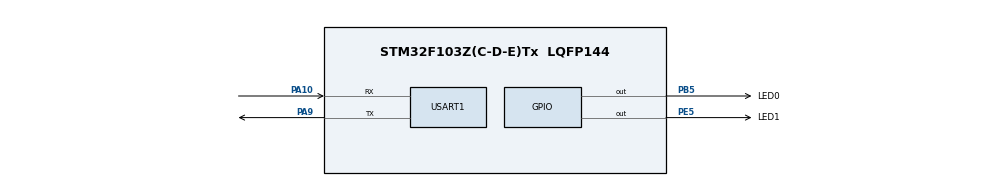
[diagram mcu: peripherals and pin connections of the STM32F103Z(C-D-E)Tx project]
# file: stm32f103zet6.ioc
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Dma.Request0=USART1_RX
Dma.Request1=USART1_TX
Dma.USART1_RX.0.Direction=DMA_PERIPH_TO_MEMORY
Dma.USART1_RX.0.Instance=DMA1_Channel5
Dma.USART1_RX.0.MemDataAlignment=DMA_MDATAALIGN_BYTE
Dma.USART1_RX.0.MemInc=DMA_MINC_ENABLE
Dma.USART1_RX.0.Mode=DMA_CIRCULAR
Dma.USART1_RX.0.PeriphDataAlignment=DMA_PDATAALIGN_BYTE
Dma.USART1_RX.0.PeriphInc=DMA_PINC_DISABLE
Dma.USART1_RX.0.Priority=DMA_PRIORITY_HIGH
Dma.USART1_TX.1.Direction=DMA_MEMORY_TO_PERIPH
Dma.USART1_TX.1.Instance=DMA1_Channel4
Dma.USART1_TX.1.MemDataAlignment=DMA_MDATAALIGN_BYTE
Dma.USART1_TX.1.MemInc=DMA_MINC_ENABLE
Dma.USART1_TX.1.Mode=DMA_NORMAL
Dma.USART1_TX.1.PeriphDataAlignment=DMA_PDATAALIGN_BYTE
Dma.USART1_TX.1.PeriphInc=DMA_PINC_DISABLE
Dma.USART1_TX.1.Priority=DMA_PRIORITY_MEDIUM
Mcu.Family=STM32F1
Mcu.Name=STM32F103Z(C-D-E)Tx
Mcu.Package=LQFP144
NVIC.DMA1_Channel4_IRQn=true\:0\:0\:false\:false\:true\:false\:true\:true
NVIC.DMA1_Channel5_IRQn=true\:0\:0\:false\:false\:true\:false\:true\:true
NVIC.PriorityGroup=NVIC_PRIORITYGROUP_4
NVIC.USART1_IRQn=true\:1\:0\:true\:false\:true\:true\:true\:true
OSC_IN.Mode=HSE-External-Oscillator
OSC_IN.Signal=RCC_OSC_IN
OSC_OUT.Mode=HSE-External-Oscillator
OSC_OUT.Signal=RCC_OSC_OUT
PA10.Mode=Asynchronous
PA10.Signal=USART1_RX
PA13.Mode=Serial_Wire
PA13.Signal=SYS_JTMS-SWDIO
PA14.Mode=Serial_Wire
PA14.Signal=SYS_JTCK-SWCLK
PA9.Mode=Asynchronous
PA9.Signal=USART1_TX
PB5.GPIO_Label=LED0
PB5.GPIO_ModeDefaultOutputPP=GPIO_MODE_OUTPUT_PP
PB5.GPIO_PuPd=GPIO_PULLDOWN
PB5.GPIO_Speed=GPIO_SPEED_FREQ_MEDIUM
PB5.Signal=GPIO_Output
PE5.GPIO_Label=LED1
PE5.GPIO_PuPd=GPIO_PULLDOWN
PE5.GPIO_Speed=GPIO_SPEED_FREQ_MEDIUM
PE5.Signal=GPIO_Output
ProjectManager.HeapSize=0x200
ProjectManager.StackSize=0x400
ProjectManager.TargetToolchain=MDK-ARM V5.32
RCC.AHBFreq_Value=72000000
RCC.APB1CLKDivider=RCC_HCLK_DIV2
RCC.APB1Freq_Value=36000000
RCC.APB1TimFreq_Value=72000000
RCC.APB2Freq_Value=72000000
RCC.APB2TimFreq_Value=72000000
RCC.HCLKFreq_Value=72000000
RCC.PLLMUL=RCC_PLL_MUL9
RCC.PLLSourceVirtual=RCC_PLLSOURCE_HSE
RCC.SYSCLKFreq_VALUE=72000000
RCC.SYSCLKSource=RCC_SYSCLKSOURCE_PLLCLK
RCC.USBFreq_Value=72000000
USART1.VirtualMode=VM_ASYNC
board=custom

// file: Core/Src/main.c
/* USER CODE BEGIN Header */
/**
  ******************************************************************************
  * @file           : main.c
  * @brief          : Main program body
  ******************************************************************************
  * @attention
  *
  * Copyright (c) 2025 STMicroelectronics.
  * All rights reserved.
  *
  * This software is licensed under terms that can be found in the LICENSE file
  * in the root directory of this software component.
  * If no LICENSE file comes with this software, it is provided AS-IS.
  *
  ******************************************************************************
  */
/* USER CODE END Header */
#include "main.h"
#include "dma.h"
#include "usart.h"
#include "gpio.h"

/* USER CODE BEGIN Includes */
//#include "myUsartDrive/myUsartDrive.h"
#include "bsp_usart_drive/bsp_usart_drive.h"
/* USER CODE END Includes */

/* USER CODE BEGIN PTD */
/* ===== USART1 实例定义 ===== */
USART_LL_Driver_t usart1_driver;

// USART1 缓冲区定义（这些就像每个邮递员的"工具包"）
static uint8_t usart1_rx_dma_buffer[1024];      // DMA接收缓冲区：临时存放
static uint8_t usart1_rx_rb_buffer[1024];       // 接收RingBuffer：长期存储
static uint8_t usart1_tx_dma_buffer[2048];      // DMA发送缓冲区：临时存放
static uint8_t usart1_tx_rb_buffer[2048];       // 发送RingBuffer：发送队列
/* USER CODE END PTD */

void SystemClock_Config(void);

int main(void)
{
  /* USER CODE BEGIN 1 */
  uint32_t fre = 0;
  /* USER CODE END 1 */

  /* MCU Configuration--------------------------------------------------------*/

  /* Reset of all peripherals, Initializes the Flash interface and the Systick. */
  LL_APB2_GRP1_EnableClock(LL_APB2_GRP1_PERIPH_AFIO);
  LL_APB1_GRP1_EnableClock(LL_APB1_GRP1_PERIPH_PWR);

  /* System interrupt init*/
  NVIC_SetPriorityGrouping(NVIC_PRIORITYGROUP_4);

  /* SysTick_IRQn interrupt configuration */
  NVIC_SetPriority(SysTick_IRQn, NVIC_EncodePriority(NVIC_GetPriorityGrouping(),15, 0));

  /** NOJTAG: JTAG-DP Disabled and SW-DP Enabled
  */
  LL_GPIO_AF_Remap_SWJ_NOJTAG();

  /* Configure the system clock */
  SystemClock_Config();

  /* Initialize all configured peripherals */
  MX_GPIO_Init();
  MX_DMA_Init();
  MX_USART1_UART_Init();
  /* USER CODE BEGIN 2 */
  USART_LL_Config(&usart1_driver,
                  USART1,                    // USART寄存器
                  DMA1,                      // DMA控制器
                  LL_DMA_CHANNEL_4,          // TX DMA通道
                  LL_DMA_CHANNEL_5,          // RX DMA通道
                  usart1_rx_dma_buffer,      // RX DMA缓冲区
                  usart1_rx_rb_buffer,       // RX RingBuffer
                  sizeof(usart1_rx_dma_buffer),
                  usart1_tx_dma_buffer,      // TX DMA缓冲区
                  usart1_tx_rb_buffer,       // TX RingBuffer
                  sizeof(usart1_tx_dma_buffer));
  /* USER CODE END 2 */

  /* Infinite loop */
  while (1)
  {
    char message[] = "Hello USART1!\r\n";
    // 将数据放入发送队列（就像把信件投入邮箱）
    uint8_t result = USART_LL_Put_TxData_To_Ringbuffer(&usart1_driver,
                                                      message,
                                                      strlen(message));
    /* USER CODE BEGIN 3 */
    if (fre % 100 == 0) {
        LL_GPIO_TogglePin(LED0_GPIO_Port,LED0_Pin);
    }
    USART_LL_Module_Run(&usart1_driver);

    fre++;
    LL_mDelay(1);
  }
  /* USER CODE END 3 */
}

void SystemClock_Config(void)
{
  LL_FLASH_SetLatency(LL_FLASH_LATENCY_2);
  while(LL_FLASH_GetLatency()!= LL_FLASH_LATENCY_2)
  {
  }
  LL_RCC_HSE_Enable();

   /* Wait till HSE is ready */
  while(LL_RCC_HSE_IsReady() != 1)
  {

  }
  LL_RCC_PLL_ConfigDomain_SYS(LL_RCC_PLLSOURCE_HSE_DIV_1, LL_RCC_PLL_MUL_9);
  LL_RCC_PLL_Enable();

   /* Wait till PLL is ready */
  while(LL_RCC_PLL_IsReady() != 1)
  {

  }
  LL_RCC_SetAHBPrescaler(LL_RCC_SYSCLK_DIV_1);
  LL_RCC_SetAPB1Prescaler(LL_RCC_APB1_DIV_2);
  LL_RCC_SetAPB2Prescaler(LL_RCC_APB2_DIV_1);
  LL_RCC_SetSysClkSource(LL_RCC_SYS_CLKSOURCE_PLL);

   /* Wait till System clock is ready */
  while(LL_RCC_GetSysClkSource() != LL_RCC_SYS_CLKSOURCE_STATUS_PLL)
  {

  }
  LL_Init1msTick(72000000);
  LL_SetSystemCoreClock(72000000);
}

void Error_Handler(void)
{
  __disable_irq();
  while (1)
  {
  }
}
